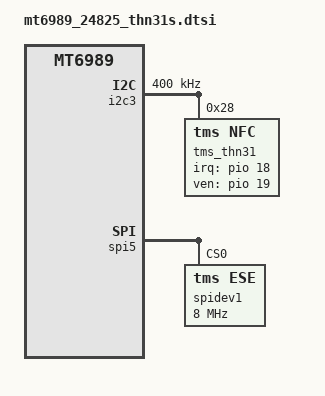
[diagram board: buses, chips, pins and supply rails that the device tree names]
/**********************************************************************************
* Copyright (c)  2008-2020  Guangdong oplus Mobile Comm Corp., Ltd
*
***********************************************************************************/
&odm {
        nfc_chipset:nfc_chipset {
                compatible = "oplus-nfc-chipset";
                chipset-24825 = "THN31";
        };
};


&i2c3 {
       status = "okay";
       clock-frequency = <400000>;

       tms_thn31@28 {
               compatible = "tms,nfc";
               reg = <0x28>;
               tms,irq-gpio = <&pio 18 0x0>;
               tms,ven-gpio = <&pio 19 0x0>;
               //tms,download-gpio = <&pio 105 0x0>;
               //pn544-clkreq = <&pio 151 0x0>;
               interrupt-parent = <&pio>;
       };
};
&spi5 {
       status = "okay";
       #address-cells = <1>;
       #size-cells = <0>;
       spidev1: ese@1 {
       compatible = "tms,ese";
       reg = <0>;
       spi-max-frequency = <8000000>;
       tms,device-name    = "tms_ese";
       tms,device-count   = <1>;
       };
};


